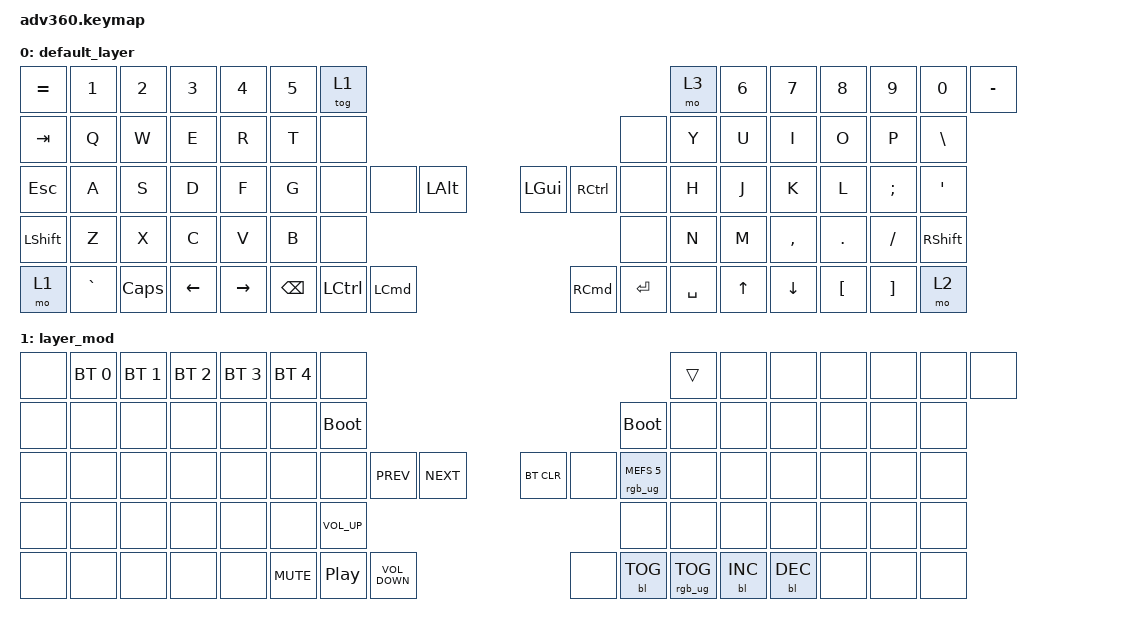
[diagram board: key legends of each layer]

/*
 * Copyright (c) 2020 The ZMK Contributors
 *
 * SPDX-License-Identifier: MIT
 */


/* THIS FILE WAS GENERATED!
 *
 * This file was generated automatically. You may or may not want to
 * edit it directly.
 */

#include <behaviors.dtsi>
#include <dt-bindings/zmk/keys.h>
#include <dt-bindings/zmk/bt.h>
#include <dt-bindings/zmk/rgb.h>
#include <dt-bindings/zmk/backlight.h>

/ {
  behaviors {
    #include "macros.dtsi"

    hm: homerow_mods {
        compatible = "zmk,behavior-hold-tap";
        label = "HOMEROW_MODS";
        #binding-cells = <2>;
        tapping-term-ms = <200>;
        quick_tap_ms = <175>;
        flavor = "tap-preferred";
        bindings = <&kp>, <&kp>;
    };
  };

    keymap {
        compatible = "zmk,keymap";


        default_layer {
            bindings = <
 &kp EQUAL     &kp N1    &kp N2    &kp N3     &kp N4  &kp N5              &tog 1                                                                                        &mo 3  &kp N6  &kp N7     &kp N8    &kp N9    &kp N0  &kp MINUS
   &kp TAB      &kp Q     &kp W     &kp E      &kp R   &kp T               &none                                                                                        &none   &kp Y   &kp U      &kp I     &kp O     &kp P   &kp BSLH
   &kp ESC      &kp A     &kp S     &kp D      &kp F   &kp G               &none             &none          &kp LALT                           &kp LGUI  &kp RCTRL      &none   &kp H   &kp J      &kp K     &kp L  &kp SEMI    &kp SQT
 &kp LSHFT      &kp Z     &kp X     &kp C      &kp V   &kp B                                                   &none                              &none                         &kp N   &kp M  &kp COMMA   &kp DOT  &kp FSLH  &kp RSHFT
     &mo 1  &kp GRAVE  &kp CAPS  &kp LEFT  &kp RIGHT                    &kp BSPC  &kp LEFT_CONTROL  &kp LEFT_COMMAND                  &kp RIGHT_COMMAND  &kp ENTER  &kp SPACE          &kp UP   &kp DOWN  &kp LBKT  &kp RBKT      &mo 2
            >;
        };

        layer_mod {
            bindings = <
  &none  &bt BT_SEL 0  &bt BT_SEL 1  &bt BT_SEL 2  &bt BT_SEL 3  &bt BT_SEL 4                  &none                                                                                               &trans   &none       &none       &none   &none   &none   &none
  &none         &none         &none         &none         &none         &none            &bootloader                                                                                          &bootloader   &none       &none       &none   &none   &none   &none
  &none         &none         &none         &none         &none         &none                  &none        &kp C_PREV         &kp C_NEXT                  &bt BT_CLR       &none  &rgb_ug RGB_MEFS_CMD 5   &none       &none       &none   &none   &none   &none
  &none         &none         &none         &none         &none         &none                                                &kp C_VOL_UP                       &none                                       &none       &none       &none   &none   &none   &none
  &none         &none         &none         &none         &none                           &kp C_MUTE  &kp C_PLAY_PAUSE  &kp C_VOLUME_DOWN                       &none  &bl BL_TOG         &rgb_ug RGB_TOG          &bl BL_INC  &bl BL_DEC   &none   &none   &none
            >;
        };

    };
};
